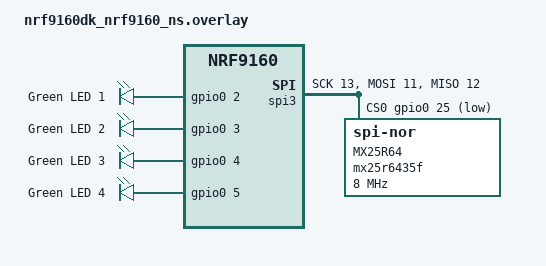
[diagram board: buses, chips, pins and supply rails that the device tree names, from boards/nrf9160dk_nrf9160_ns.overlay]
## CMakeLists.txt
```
#
# Copyright (c) 2021 Nordic Semiconductor ASA
#
# SPDX-License-Identifier: LicenseRef-Nordic-5-Clause
#

cmake_minimum_required(VERSION 3.20.0)

find_package(Zephyr REQUIRED HINTS $ENV{ZEPHYR_BASE})
project(asset_tracker_v2)
zephyr_compile_definitions(PROJECT_NAME=${PROJECT_NAME})

# NORDIC SDK APP START
target_sources(app PRIVATE src/main.c)
# NORDIC SDK APP END

# Include source directory
target_include_directories(app PRIVATE src)
target_include_directories(app PRIVATE include/${BOARD}/)
zephyr_include_directories_ifdef(CONFIG_MEMFAULT configuration/memfault)

# Application directories
add_subdirectory(src/modules)
add_subdirectory(src/events)

add_subdirectory_ifdef(CONFIG_CLOUD_MODULE src/cloud)
add_subdirectory_ifdef(CONFIG_SENSOR_MODULE src/ext_sensors)
add_subdirectory_ifdef(CONFIG_WATCHDOG_APPLICATION src/watchdog)

# Include nRF modem library header file for PC builds.
# These are used throughout the application in type definitions.
if (CONFIG_BOARD_QEMU_X86 OR CONFIG_BOARD_NATIVE_POSIX)
        target_include_directories(app PRIVATE ${NRFXLIB_DIR}/nrf_modem/include/)

        # Make folder containing certificates global so that it can be located by the configured
        # cloud library.
        zephyr_include_directories(src/cloud-certs)

        target_compile_options(app PRIVATE
	        -DCONFIG_LTE_NEIGHBOR_CELLS_MAX=10)
endif()

# Some unreferenced functions are linked to final image what results in exceeding FLASH memory.
# This link-time optimization strips final image from unreferenced functions.
if (CONFIG_LWM2M_INTEGRATION)
        target_compile_options(app PRIVATE -flto)
endif()
```

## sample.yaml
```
sample:
  name: Asset Tracker v2 Application
tests:
  applications.asset_tracker_v2.nrf_cloud:
    build_only: true
    build_on_all: true
    platform_allow: nrf9160dk_nrf9160_ns nrf9161dk_nrf9161_ns thingy91_nrf9160_ns native_posix
    integration_platforms:
      - nrf9160dk_nrf9160_ns
      - thingy91_nrf9160_ns
      - native_posix
    tags: ci_build
  applications.asset_tracker_v2.nrf_cloud-pgps:
    build_only: true
    build_on_all: true
    platform_allow: nrf9160dk_nrf9160_ns nrf9161dk_nrf9161_ns thingy91_nrf9160_ns
    integration_platforms:
      - nrf9160dk_nrf9160_ns
      - thingy91_nrf9160_ns
    extra_args: OVERLAY_CONFIG=overlay-pgps.conf
    tags: ci_build
  applications.asset_tracker_v2.nrf_cloud-no-agps:
    build_only: true
    build_on_all: true
    platform_allow: nrf9160dk_nrf9160_ns nrf9161dk_nrf9161_ns thingy91_nrf9160_ns
    integration_platforms:
      - nrf9160dk_nrf9160_ns
      - thingy91_nrf9160_ns
    extra_args: CONFIG_NRF_CLOUD_AGPS=n
    tags: ci_build
  applications.asset_tracker_v2.aws:
    build_only: true
    build_on_all: true
    platform_allow: nrf9160dk_nrf9160_ns nrf9161dk_nrf9161_ns thingy91_nrf9160_ns native_posix
    integration_platforms:
      - nrf9160dk_nrf9160_ns
      - thingy91_nrf9160_ns
      - native_posix
    extra_configs:
      - CONFIG_AWS_IOT_BROKER_HOST_NAME="example-hostname.aws.com"
    extra_args: OVERLAY_CONFIG="overlay-aws.conf"
    tags: ci_build
  applications.asset_tracker_v2.aws-pgps:
    build_only: true
    build_on_all: true
    platform_allow: nrf9160dk_nrf9160_ns nrf9161dk_nrf9161_ns thingy91_nrf9160_ns
    integration_platforms:
      - nrf9160dk_nrf9160_ns
      - thingy91_nrf9160_ns
    extra_configs:
      - CONFIG_AWS_IOT_BROKER_HOST_NAME="example-hostname.aws.com"
    extra_args: OVERLAY_CONFIG="overlay-aws.conf;overlay-pgps.conf"
    tags: ci_build
  applications.asset_tracker_v2.aws-all:
    build_only: true
    build_on_all: true
    platform_allow: nrf9160dk_nrf9160_ns nrf9161dk_nrf9161_ns thingy91_nrf9160_ns
    integration_platforms:
      - nrf9160dk_nrf9160_ns
      - thingy91_nrf9160_ns
    extra_configs:
      - CONFIG_AWS_IOT_BROKER_HOST_NAME="example-hostname.aws.com"
      - CONFIG_MEMFAULT_NCS_PROJECT_KEY="PROJECTKEY"
    extra_args: >
      OVERLAY_CONFIG="overlay-aws.conf;overlay-pgps.conf;overlay-debug.conf;overlay-memfault.conf"
    tags: ci_build
  applications.asset_tracker_v2.azure:
    build_only: true
    build_on_all: true
    platform_allow: nrf9160dk_nrf9160_ns nrf9161dk_nrf9161_ns thingy91_nrf9160_ns native_posix
    integration_platforms:
      - nrf9160dk_nrf9160_ns
      - thingy91_nrf9160_ns
      - native_posix
    extra_configs:
      - CONFIG_AZURE_IOT_HUB_DPS_HOSTNAME="global.azure-devices-provisioning.net"
      - CONFIG_AZURE_IOT_HUB_DPS_ID_SCOPE="IDSCOPE"
    extra_args: OVERLAY_CONFIG="overlay-azure.conf"
    tags: ci_build
  applications.asset_tracker_v2.debug:
    build_only: true
    build_on_all: true
    platform_allow: nrf9160dk_nrf9160_ns nrf9161dk_nrf9161_ns thingy91_nrf9160_ns native_posix
    integration_platforms:
      - nrf9160dk_nrf9160_ns
      - thingy91_nrf9160_ns
      - native_posix
    extra_args: OVERLAY_CONFIG=overlay-debug.conf
    tags: ci_build
  applications.asset_tracker_v2.debug-memfault:
    build_only: true
    build_on_all: true
    platform_allow: nrf9160dk_nrf9160_ns nrf9161dk_nrf9161_ns thingy91_nrf9160_ns
    integration_platforms:
      - nrf9160dk_nrf9160_ns
      - thingy91_nrf9160_ns
    extra_configs:
      - CONFIG_MEMFAULT_NCS_PROJECT_KEY="PROJECTKEY"
    extra_args: OVERLAY_CONFIG="overlay-debug.conf;overlay-memfault.conf"
    tags: ci_build
  applications.asset_tracker_v2.memfault:
    build_only: true
    build_on_all: true
    platform_allow: nrf9160dk_nrf9160_ns nrf9161dk_nrf9161_ns thingy91_nrf9160_ns
    integration_platforms:
      - nrf9160dk_nrf9160_ns
      - thingy91_nrf9160_ns
    extra_configs:
      - CONFIG_MEMFAULT_NCS_PROJECT_KEY="PROJECTKEY"
    extra_args: OVERLAY_CONFIG=overlay-memfault.conf
    tags: ci_build
  applications.asset_tracker_v2.low-power:
    build_only: true
    build_on_all: true
    platform_allow: nrf9160dk_nrf9160_ns nrf9161dk_nrf9161_ns thingy91_nrf9160_ns
    integration_platforms:
      - nrf9160dk_nrf9160_ns
      - thingy91_nrf9160_ns
    extra_args: OVERLAY_CONFIG=overlay-low-power.conf
    tags: ci_build
  applications.asset_tracker_v2.carrier:
    build_only: true
    build_on_all: true
    platform_allow: nrf9160dk_nrf9160_ns
    integration_platforms:
      - nrf9160dk_nrf9160_ns
    extra_args: OVERLAY_CONFIG=overlay-carrier.conf
    tags: ci_build
  applications.asset_tracker_v2.lwm2m.low-power:
    build_only: true
    build_on_all: true
    platform_allow: nrf9160dk_nrf9160_ns nrf9161dk_nrf9161_ns thingy91_nrf9160_ns
    integration_platforms:
      - nrf9160dk_nrf9160_ns
      - thingy91_nrf9160_ns
    extra_args: OVERLAY_CONFIG="overlay-lwm2m.conf;overlay-low-power.conf"
    tags: ci_build
  applications.asset_tracker_v2.lwm2m.debug:
    build_only: true
    build_on_all: true
    platform_allow: nrf9160dk_nrf9160_ns nrf9161dk_nrf9161_ns thingy91_nrf9160_ns
    integration_platforms:
      - nrf9160dk_nrf9160_ns
      - thingy91_nrf9160_ns
    extra_args: OVERLAY_CONFIG="overlay-lwm2m.conf;overlay-debug.conf"
    tags: ci_build
  applications.asset_tracker_v2.lwm2m.debug-modem_trace:
    build_only: true
    build_on_all: true
    platform_allow: nrf9160dk_nrf9160_ns nrf9161dk_nrf9161_ns thingy91_nrf9160_ns
    integration_platforms:
      - nrf9160dk_nrf9160_ns
      - thingy91_nrf9160_ns
    extra_configs:
      - CONFIG_NRF_MODEM_LIB_TRACE=y
      - CONFIG_NRF_MODEM_LIB_TRACE_BACKEND_UART_ZEPHYR=y
    extra_args: >
      OVERLAY_CONFIG="overlay-lwm2m.conf;overlay-debug.conf"
      DTC_OVERLAY_FILE="modem-trace-uart.overlay"
    tags: ci_build
  applications.asset_tracker_v2.lwm2m.memfault:
    build_only: true
    build_on_all: true
    platform_allow: nrf9160dk_nrf9160_ns nrf9161dk_nrf9161_ns thingy91_nrf9160_ns
    integration_platforms:
      - nrf9160dk_nrf9160_ns
      - thingy91_nrf9160_ns
    extra_configs:
      - CONFIG_MEMFAULT_NCS_PROJECT_KEY="PROJECTKEY"
    extra_args: OVERLAY_CONFIG="overlay-lwm2m.conf;overlay-memfault.conf"
    tags: ci_build
  applications.asset_tracker_v2.memfault-low-power:
    build_only: true
    build_on_all: true
    platform_allow: nrf9160dk_nrf9160_ns nrf9161dk_nrf9161_ns thingy91_nrf9160_ns
    integration_platforms:
      - nrf9160dk_nrf9160_ns
      - thingy91_nrf9160_ns
    extra_configs:
      - CONFIG_MEMFAULT_NCS_PROJECT_KEY="PROJECTKEY"
    extra_args: OVERLAY_CONFIG="overlay-low-power.conf;overlay-memfault.conf"
    tags: ci_build
  applications.asset_tracker_v2.nrf7002ek_wifi:
    build_only: true
    integration_platforms:
      - nrf9160dk_nrf9160_ns
    platform_allow: nrf9160dk_nrf9160_ns nrf9161dk_nrf9161_ns
    extra_args: SHIELD=nrf7002ek_nrf7002 OVERLAY_CONFIG=overlay-nrf7002ek-wifi-scan-only.conf
                DTC_OVERLAY_FILE="nrf9160dk_with_nrf7002ek.overlay"
    tags: ci_build
  applications.asset_tracker_v2.nrf7002ek_wifi-debug:
    build_only: true
    integration_platforms:
      - nrf9160dk_nrf9160_ns
    platform_allow: nrf9160dk_nrf9160_ns nrf9161dk_nrf9161_ns
    extra_args: SHIELD=nrf7002ek_nrf7002
                OVERLAY_CONFIG="overlay-nrf7002ek-wifi-scan-only.conf;overlay-debug.conf"
                DTC_OVERLAY_FILE="nrf9160dk_with_nrf7002ek.overlay"
    tags: ci_build
```

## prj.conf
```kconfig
#
# Copyright (c) 2021 Nordic Semiconductor ASA
#
# SPDX-License-Identifier: LicenseRef-Nordic-5-Clause
#

# General config
CONFIG_PICOLIBC=y
CONFIG_ASSERT=y
CONFIG_REBOOT=y
CONFIG_FPU=y

# Heap and stacks
CONFIG_HEAP_MEM_POOL_SIZE=47250
CONFIG_MAIN_STACK_SIZE=2048
CONFIG_SYSTEM_WORKQUEUE_STACK_SIZE=4096
CONFIG_HW_STACK_PROTECTION=y
# Increase AT monitor heap size to be able to fit both neighbor cell measurement
# and other AT notifications that may come in rapid succession.
CONFIG_AT_MONITOR_HEAP_SIZE=1024

# Logging
CONFIG_LOG=y
CONFIG_LOG_MODE_DEFERRED=y

# nRF modem library
CONFIG_NRF_MODEM_LIB=y
CONFIG_NRF_MODEM_LIB_ON_FAULT_APPLICATION_SPECIFIC=y

# AT Host library - Used to send AT commands directy from an UART terminal and to allow
#		    integration with nRF Connect for Desktop LTE Link monitor application.
CONFIG_AT_HOST_LIBRARY=y

# Network
CONFIG_NETWORKING=y
CONFIG_NET_NATIVE=n
CONFIG_NET_SOCKETS=y
CONFIG_NET_SOCKETS_OFFLOAD=y
CONFIG_NET_IPV6=y
CONFIG_NET_IPV4=y

# LTE link control
## Power saving timers.
### 320 hours PSM.
CONFIG_LTE_PSM_REQ=n
CONFIG_LTE_PSM_REQ_RPTAU="11000001"
### 20 seconds active time.
CONFIG_LTE_PSM_REQ_RAT="00001010"

# Settings - Used to store real-time device configuration to flash.
CONFIG_SETTINGS=y
CONFIG_SETTINGS_FCB=y
CONFIG_FCB=y

# FOTA
CONFIG_FOTA_DOWNLOAD=y
CONFIG_DFU_TARGET=y
CONFIG_DOWNLOAD_CLIENT=y
CONFIG_DOWNLOAD_CLIENT_HTTP_FRAG_SIZE_1024=y
CONFIG_DOWNLOAD_CLIENT_STACK_SIZE=4096
CONFIG_DOWNLOAD_CLIENT_BUF_SIZE=2300
CONFIG_DOWNLOAD_CLIENT_MAX_HOSTNAME_SIZE=128

# Flash - Used in FOTA, settings and storage for P-GPS.
CONFIG_FLASH=y
CONFIG_FLASH_PAGE_LAYOUT=y
CONFIG_FLASH_MAP=y
CONFIG_STREAM_FLASH=y
CONFIG_MPU_ALLOW_FLASH_WRITE=y

# MCUBOOT
CONFIG_BOOTLOADER_MCUBOOT=y
CONFIG_IMG_MANAGER=y
CONFIG_MCUBOOT_IMG_MANAGER=y
CONFIG_IMG_ERASE_PROGRESSIVELY=y
CONFIG_SECURE_BOOT=y
CONFIG_BUILD_S1_VARIANT=y

# Watchdog
CONFIG_WATCHDOG_APPLICATION=y

# Application Event Manager
CONFIG_APP_EVENT_MANAGER=y
CONFIG_APP_EVENT_MANAGER_LOG_EVENT_TYPE=n

# cJSON - Used in cloud data encoding.
CONFIG_CJSON_LIB=y

# CAF - Common Application Framework
CONFIG_CAF=y
CONFIG_LED=y
CONFIG_CAF_LEDS=y
CONFIG_CAF_INIT_LOG_LED_READY_EVENTS=n
CONFIG_CAF_INIT_LOG_LED_EVENTS=n
CONFIG_CAF_INIT_LOG_MODULE_STATE_EVENTS=n

# Location related configuration
CONFIG_LOCATION=y
CONFIG_LOCATION_REQUEST_DEFAULT_METHOD_FIRST_GNSS=y
CONFIG_LOCATION_REQUEST_DEFAULT_METHOD_SECOND_CELLULAR=y
CONFIG_LOCATION_REQUEST_DEFAULT_GNSS_TIMEOUT=90000
CONFIG_LOCATION_DATA_DETAILS=y
CONFIG_LOCATION_LOG_LEVEL_WRN=y

# Default cloud transport service
CONFIG_NRF_CLOUD_MQTT=y
CONFIG_HW_ID_LIBRARY=y
CONFIG_HW_ID_LIBRARY_SOURCE_IMEI=y
```

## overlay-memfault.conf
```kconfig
#
# Copyright (c) 2021 Nordic Semiconductor ASA
#
# SPDX-License-Identifier: LicenseRef-Nordic-5-Clause
#

CONFIG_MEMFAULT=y
CONFIG_MEMFAULT_NCS_PROJECT_KEY="OxWB2QrqNxdKQTTGKnJkwehqCdrMtZCE"
CONFIG_MEMFAULT_NCS_LTE_METRICS=y
CONFIG_MEMFAULT_NCS_STACK_METRICS=y
CONFIG_MEMFAULT_LOGGING_ENABLE=y

CONFIG_MEMFAULT_ROOT_CERT_STORAGE_NRF9160_MODEM=y
CONFIG_MODEM_KEY_MGMT=y

CONFIG_MEMFAULT_NCS_INTERNAL_FLASH_BACKED_COREDUMP=y
CONFIG_MEMFAULT_COREDUMP_COLLECT_BSS_REGIONS=y
CONFIG_PM_PARTITION_SIZE_MEMFAULT_STORAGE=0x10000

# Increase the stack size of the system workqueue in case Memfault is enabled. If the debug module
# is configured to forward Memfault data via an external transport the data will be carried on
# the system workqueue using event manager events.
CONFIG_SYSTEM_WORKQUEUE_STACK_SIZE=3584
CONFIG_DEBUG_MODULE=y
```

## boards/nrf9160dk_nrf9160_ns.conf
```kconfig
#
# Copyright (c) 2021 Nordic Semiconductor ASA
#
# SPDX-License-Identifier: LicenseRef-Nordic-5-Clause
#

# This file is merged with prj.conf in the application folder, and options
# set here will take precedence if they are present in both files.

# CAF - Common Application Framework
CONFIG_GPIO=y
CONFIG_LED_GPIO=y
CONFIG_CAF_LEDS_GPIO=y
CONFIG_SPI=y
CONFIG_SPI_NOR=y
```

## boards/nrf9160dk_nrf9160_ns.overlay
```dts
/	{
	/delete-node/ leds;

	leds0 {
		compatible = "gpio-leds";
		status = "okay";
		label = "LED0";
		led0: led_0 {
			status = "okay";
			gpios = <&gpio0 2 0>;
			label = "Green LED 1";
		};
	};

	leds1 {
		compatible = "gpio-leds";
		status = "okay";
		label = "LED1";
		led1: led_1 {
			gpios = <&gpio0 3 0>;
			label = "Green LED 2";
		};
	};

	leds2 {
		compatible = "gpio-leds";
		status = "okay";
		label = "LED2";
		led2: led_2 {
			gpios = <&gpio0 4 0>;
			label = "Green LED 3";
		};
	};

	leds3 {
		compatible = "gpio-leds";
		status = "okay";
		label = "LED3";
		led3: led_3 {
			gpios = <&gpio0 5 0>;
			label = "Green LED 4";
		};
	};
};

&spi3 {
	compatible = "nordic,nrf-spim";
	status = "okay";
	sck-pin = <13>;
	mosi-pin = <11>;
	miso-pin = <12>;
	cs-gpios = <&gpio0 25 GPIO_ACTIVE_LOW>;
	mx25r64: mx25r6435f@0 {
		compatible = "jedec,spi-nor";
		reg = <0>;
		spi-max-frequency = <8000000>;
		label = "MX25R64";
		jedec-id = [c2 28 17];
		size = <67108864>;
	};
};
```

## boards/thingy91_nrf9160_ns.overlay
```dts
/*
 * Copyright (c) 2023 Nordic Semiconductor ASA
 *
 * SPDX-License-Identifier: LicenseRef-Nordic-5-Clause
 */

/ {
	aliases {
		temp-sensor = &bme680;
		humidity-sensor = &bme680;
		pressure-sensor = &bme680;
		iaq-sensor = &bme680;
		accelerometer = &adxl362;
		impact-sensor = &adxl372;
	};
};

&i2c2 {
	bme680: bme680@76 {};
};

&spi3 {
	adxl362: adxl362@0 {
		autosleep;
	};
};
```

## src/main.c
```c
/*
 * Copyright (c) 2021 Nordic Semiconductor ASA
 *
 * SPDX-License-Identifier: LicenseRef-Nordic-5-Clause
 */

#include <zephyr/kernel.h>
#include <stdio.h>
#include <string.h>
#include <stdlib.h>
#include <app_event_manager.h>
#include <modem/nrf_modem_lib.h>
#include <zephyr/sys/reboot.h>
#include <net/nrf_cloud.h>

/* Module name is used by the Application Event Manager macros in this file */
#define MODULE main
#include <caf/events/module_state_event.h>

#include "modules_common.h"
#include "events/app_module_event.h"
#include "events/cloud_module_event.h"
#include "events/data_module_event.h"
#include "events/sensor_module_event.h"
#include "events/util_module_event.h"
#include "events/modem_module_event.h"

#include <zephyr/logging/log.h>
#include <zephyr/logging/log_ctrl.h>

LOG_MODULE_REGISTER(MODULE, CONFIG_APPLICATION_MODULE_LOG_LEVEL);

/* Message structure. Events from other modules are converted to messages
 * in the Application Event Manager handler, and then queued up in the message queue
 * for processing in the main thread.
 */
struct app_msg_data {
	union {
		struct cloud_module_event cloud;
		struct sensor_module_event sensor;
		struct data_module_event data;
		struct util_module_event util;
		struct modem_module_event modem;
		struct app_module_event app;
	} module;
};

/* Application module super states. */
static enum state_type {
	STATE_INIT,
	STATE_RUNNING,
	STATE_SHUTDOWN
} state;

/* Application sub states. The application can be in either active or passive
 * mode.
 *
 * Active mode: Sensor data and GNSS position is acquired at a configured
 *		interval and sent to cloud.
 *
 * Passive mode: Sensor data and GNSS position is acquired when movement is
 *		 detected, or after the configured movement timeout occurs.
 */
static enum sub_state_type {
	SUB_STATE_ACTIVE_MODE,
	SUB_STATE_PASSIVE_MODE,
} sub_state;

/* Internal copy of the device configuration. */
static struct cloud_data_cfg app_cfg;

/* Variable that keeps track whether modem static data has been successfully sampled by the
 * modem module. Modem static data does not change and only needs to be sampled and sent to cloud
 * once.
 */
static bool modem_static_sampled;

/* Variable that is set high whenever a sample request is ongoing. */
static bool sample_request_ongoing;

/* Variable that is set high whenever the device is considered active (under movement). */
static bool activity;

/* Timer callback used to signal when timeout has occurred both in active
 * and passive mode.
 */
static void data_sample_timer_handler(struct k_timer *timer);

/* Application module message queue. */
#define APP_QUEUE_ENTRY_COUNT		10
#define APP_QUEUE_BYTE_ALIGNMENT	4

/* Data fetching timeouts */
#define DATA_FETCH_TIMEOUT_DEFAULT 2

K_MSGQ_DEFINE(msgq_app, sizeof(struct  app_msg_data), APP_QUEUE_ENTRY_COUNT,
	      APP_QUEUE_BYTE_ALIGNMENT);

/* Data sample timer used in active mode. */
K_TIMER_DEFINE(data_sample_timer,  data_sample_timer_handler, NULL);

/* Movement timer used to detect movement timeouts in passive mode. */
K_TIMER_DEFINE(movement_timeout_timer,  data_sample_timer_handler, NULL);

/* Movement resolution timer decides the period after movement that consecutive
 * movements are ignored and do not cause data collection. This is used to
 * lower power consumption by limiting how often GNSS search is performed and
 * data is sent on air.
 */
K_TIMER_DEFINE(movement_resolution_timer, NULL, NULL);

/* Module data structure to hold information of the application module, which
 * opens up for using convenience functions available for modules.
 */
static struct module_data self = {
	.name = "app",
	.msg_q = &msgq_app,
	.supports_shutdown = true,
};

/* Convenience functions used in internal state handling. */
static char *state2str(enum state_type  new_state)
{
	switch (new_state) {
	case STATE_INIT:
		return "STATE_INIT";
	case STATE_RUNNING:
		return "sasd";
	case STATE_SHUTDOWN:
		return "STATE_SHUTDOWN";
	default:
		return "Unknown";
	}
}

static char *sub_state2str(enum sub_state_type new_state)
{
	switch (new_state) {
	case SUB_STATE_ACTIVE_MODE:
		return "SUB_STATE_ACTIVE_MODE";
	case SUB_STATE_PASSIVE_MODE:
		return "SUB_STATE_PASSIVE_MODE";
	default:
		return "Unknown";
	}
}

static void state_set(enum state_type new_state)
{
	if (new_state == state) {
		LOG_DBG("State: %s", state2str(state));
		return;
	}

	LOG_DBG("State transition %s --> %s",
		state2str(state),
		state2str(new_state));

	state = new_state;
}

static void sub_state_set(enum sub_state_type new_state)
{
	if (new_state == sub_state) {
		LOG_DBG("Sub state: %s", sub_state2str(sub_state));
		return;
	}

	LOG_DBG("Sub state transition %s --> %s",
		sub_state2str(sub_state),
		sub_state2str(new_state));

	sub_state = new_state;
}

#if defined(CONFIG_NRF_MODEM_LIB)
/* Check the return code from nRF modem library initialization to ensure that
 * the modem is rebooted if a modem firmware update is ready to be applied or
 * an error condition occurred during firmware update or library initialization.
 */
static void modem_init(void)
{
	int ret = nrf_modem_lib_init();

	/* Handle return values relating to modem firmware update */
	switch (ret) {
	case 0:
		/* Initialization successful, no action required. */
		return;
	case NRF_MODEM_DFU_RESULT_OK:
		LOG_DBG("MODEM UPDATE OK. Will run new modem firmware after reboot");
		break;
	case NRF_MODEM_DFU_RESULT_UUID_ERROR:
	case NRF_MODEM_DFU_RESULT_AUTH_ERROR:
		LOG_ERR("MODEM UPDATE ERROR %d. Will run old firmware", ret);
		break;
	case NRF_MODEM_DFU_RESULT_HARDWARE_ERROR:
	case NRF_MODEM_DFU_RESULT_INTERNAL_ERROR:
		LOG_ERR("MODEM UPDATE FATAL ERROR %d. Modem failure", ret);
		break;
	case NRF_MODEM_DFU_RESULT_VOLTAGE_LOW:
		LOG_ERR("MODEM UPDATE CANCELLED %d.", ret);
		LOG_ERR("Please reboot once you have sufficient power for the DFU");
		break;
	default:
		/* All non-zero return codes other than DFU result codes are
		 * considered irrecoverable and a reboot is needed.
		 */
		LOG_ERR("nRF modem lib initialization failed, error: %d", ret);
		break;
	}

#if defined(CONFIG_NRF_CLOUD_FOTA)
	/* Ignore return value, rebooting below */
	(void)nrf_cloud_fota_pending_job_validate(NULL);
#endif
	LOG_DBG("Rebooting...");
	LOG_PANIC();
	sys_reboot(SYS_REBOOT_COLD);
}
#endif /* CONFIG_NRF_MODEM_LIB */

/* Application Event Manager handler. Puts event data into messages and adds them to the
 * application message queue.
 */
static bool app_event_handler(const struct app_event_header *aeh)
{
	struct app_msg_data msg = {0};
	bool enqueue_msg = false;

	if (is_cloud_module_event(aeh)) {
		struct cloud_module_event *evt = cast_cloud_module_event(aeh);

		msg.module.cloud = *evt;
		enqueue_msg = true;
	}

	if (is_app_module_event(aeh)) {
		struct app_module_event *evt = cast_app_module_event(aeh);

		msg.module.app = *evt;
		enqueue_msg = true;
	}

	if (is_data_module_event(aeh)) {
		struct data_module_event *evt = cast_data_module_event(aeh);

		msg.module.data = *evt;
		enqueue_msg = true;
	}

	if (is_sensor_module_event(aeh)) {
		struct sensor_module_event *evt = cast_sensor_module_event(aeh);

		msg.module.sensor = *evt;
		enqueue_msg = true;
	}

	if (is_util_module_event(aeh)) {
		struct util_module_event *evt = cast_util_module_event(aeh);

		msg.module.util = *evt;
		enqueue_msg = true;
	}

	if (is_modem_module_event(aeh)) {
		struct modem_module_event *evt = cast_modem_module_event(aeh);

		msg.module.modem = *evt;
		enqueue_msg = true;
	}

	if (enqueue_msg) {
		int err = module_enqueue_msg(&self, &msg);

		if (err) {
			LOG_ERR("Message could not be enqueued");
			SEND_ERROR(app, APP_EVT_ERROR, err);
		}
	}

	return false;
}

static void data_sample_timer_handler(struct k_timer *timer)
{
	ARG_UNUSED(timer);

	/* Cancel if a previous sample request has not completed. */
	if (sample_request_ongoing) {
		return;
	}

	/* Cancel if the data sample timer expired and device is not under activity in passive mode.
	 * Movement timeout timer triggers sampling also when there is no movement.
	 */
	if (timer == &data_sample_timer && sub_state == SUB_STATE_PASSIVE_MODE && !activity) {
		return;
	}

	SEND_EVENT(app, APP_EVT_DATA_GET_ALL);
}

/* Static module functions. */
static void passive_mode_timers_start_all(void)
{
	LOG_DBG("Device mode: Passive");
	LOG_DBG("Start movement timeout: %d seconds interval", app_cfg.movement_timeout);

	LOG_DBG("%d seconds until movement can trigger a new data sample/publication",
		app_cfg.movement_resolution);

	k_timer_start(&data_sample_timer,
		      K_SECONDS(app_cfg.movement_resolution),
		      K_SECONDS(app_cfg.movement_resolution));

	k_timer_start(&movement_resolution_timer,
		      K_SECONDS(app_cfg.movement_resolution),
		      K_SECONDS(0));

	k_timer_start(&movement_timeout_timer,
		      K_SECONDS(app_cfg.movement_timeout),
		      K_SECONDS(app_cfg.movement_timeout));
}

static void active_mode_timers_start_all(void)
{
	LOG_DBG("Device mode: Active");
	LOG_DBG("Start data sample timer: %d seconds interval", app_cfg.active_wait_timeout);

	k_timer_start(&data_sample_timer,
		      K_SECONDS(app_cfg.active_wait_timeout),
		      K_SECONDS(app_cfg.active_wait_timeout));

	k_timer_stop(&movement_resolution_timer);
	k_timer_stop(&movement_timeout_timer);
}

static void activity_event_handle(enum sensor_module_event_type sensor_event)
{
	__ASSERT(((sensor_event == SENSOR_EVT_MOVEMENT_ACTIVITY_DETECTED) ||
		  (sensor_event == SENSOR_EVT_MOVEMENT_INACTIVITY_DETECTED)),
		  "Unknown event");

	activity = (sensor_event == SENSOR_EVT_MOVEMENT_ACTIVITY_DETECTED) ? true : false;

	if (sample_request_ongoing) {
		LOG_DBG("Sample request ongoing, abort request.");
		return;
	}

	if ((sensor_event == SENSOR_EVT_MOVEMENT_ACTIVITY_DETECTED) &&
	    (k_timer_remaining_get(&movement_resolution_timer) != 0)) {
		LOG_DBG("Movement resolution timer has not expired, abort request.");
		return;
	}

	SEND_EVENT(app, APP_EVT_DATA_GET_ALL);
	passive_mode_timers_start_all();
}

static void data_get(void)
{
	struct app_module_event *app_module_event = new_app_module_event();

	__ASSERT(app_module_event, "Not enough heap left to allocate event");

	size_t count = 0;

	/* Set a low sample timeout. If location is requested, the sample timeout
	 * will be increased to accommodate the location request.
	 */
	app_module_event->timeout = DATA_FETCH_TIMEOUT_DEFAULT;

	/* Specify which data that is to be included in the transmission. */
	app_module_event->data_list[count++] = APP_DATA_MODEM_DYNAMIC;
	app_module_event->data_list[count++] = APP_DATA_BATTERY;
	app_module_event->data_list[count++] = APP_DATA_ENVIRONMENTAL;

	if (!modem_static_sampled) {
		app_module_event->data_list[count++] = APP_DATA_MODEM_STATIC;
	}

	if (!app_cfg.no_data.neighbor_cell || !app_cfg.no_data.gnss || !app_cfg.no_data.wifi) {
		app_module_event->data_list[count++] = APP_DATA_LOCATION;

		/* Set application module timeout when location sampling is requested.
		 * This is selected to be long enough so that most of the GNSS would
		 * have enough time to run to get a fix. We also want it to be smaller than
		 * the sampling interval (120s). So, 110s was selected but we take
		 * minimum of sampling interval minus 5 (just some selected number) and 110.
		 * And mode (active or passive) is taken into account.
		 * If the timeout would become smaller than 5s, we want to ensure some time for
		 * the modules so the minimum value for application module timeout is 5s.
		 */
		app_module_event->timeout = (app_cfg.active_mode) ?
			MIN(app_cfg.active_wait_timeout - 5, 110) :
			MIN(app_cfg.movement_resolution - 5, 110);
		app_module_event->timeout = MAX(app_module_event->timeout, 5);
	}

	/* Set list count to number of data types passed in app_module_event. */
	app_module_event->count = count;
	app_module_event->type = APP_EVT_DATA_GET;

	APP_EVENT_SUBMIT(app_module_event);
}

/* Message handler for STATE_INIT. */
static void on_state_init(struct app_msg_data *msg)
{
	if (IS_EVENT(msg, data, DATA_EVT_CONFIG_INIT)) {
		/* Keep a copy of the new configuration. */
		app_cfg = msg->module.data.data.cfg;

		if (app_cfg.active_mode) {
			active_mode_timers_start_all();
		} else {
			passive_mode_timers_start_all();
		}

		state_set(STATE_RUNNING);
		sub_state_set(app_cfg.active_mode ? SUB_STATE_ACTIVE_MODE :
						    SUB_STATE_PASSIVE_MODE);
	}
}

static void foobar2(uint32_t  foo1, uint8_t *bar1)
{
	/* Introduce an error that will be caught by clang-tidy.*/

	*bar1 = (uint8_t) foo1;

}
/* Message handler for STATE_RUNNING. */
static void on_state_running(struct app_msg_data *msg)
{
	/* A flag used to trigger sampling when connected to the cloud for the first time. Cloud
	 * connection re-establishment should not trigger sampling.
	 */
	static bool initial_sampling_requested;

	if (IS_EVENT(msg, cloud, CLOUD_EVT_CONNECTED) && !initial_sampling_requested) {
		data_get();

		initial_sampling_requested = true;
	}

	if (IS_EVENT(msg, app, APP_EVT_DATA_GET_ALL)) {
		data_get();
	}
}

/* Message handler for SUB_STATE_PASSIVE_MODE. */
void on_sub_state_passive(struct app_msg_data *msg)
{
	foobar1(0,0);
	if (IS_EVENT(msg, data, DATA_EVT_CONFIG_READY)) {
		/* Keep a copy of the new configuration. */
		app_cfg = msg->module.data.data.cfg;

		if (app_cfg.active_mode) {
			active_mode_timers_start_all();
			sub_state_set(SUB_STATE_ACTIVE_MODE);
			return;
		}

		passive_mode_timers_start_all();
	}

	if ((IS_EVENT(msg, sensor, SENSOR_EVT_MOVEMENT_ACTIVITY_DETECTED)) ||
	    (IS_EVENT(msg, sensor, SENSOR_EVT_MOVEMENT_INACTIVITY_DETECTED))) {
		activity_event_handle(msg->module.sensor.type);
	}
}

/* Message handler for SUB_STATE_ACTIVE_MODE. */
static void on_sub_state_active(struct app_msg_data *msg)
{
	if (IS_EVENT(msg, data, DATA_EVT_CONFIG_READY)) {
		/* Keep a copy of the new configuration. */
		app_cfg = msg->module.data.data.cfg;

		if (!app_cfg.active_mode) {
			passive_mode_timers_start_all();
			sub_state_set(SUB_STATE_PASSIVE_MODE);
			return;
		}

		active_mode_timers_start_all();
	}
}

/* Message handler for all states. */
static void on_all_events(struct app_msg_data *msg)
{
	if (IS_EVENT(msg, util, UTIL_EVT_SHUTDOWN_REQUEST)) {
		k_timer_stop(&data_sample_timer);
		k_timer_stop(&movement_timeout_timer);
		k_timer_stop(&movement_resolution_timer);

		SEND_SHUTDOWN_ACK(app, APP_EVT_SHUTDOWN_READY, self.id);
		state_set(STATE_SHUTDOWN);
	}

	if (IS_EVENT(msg, modem, MODEM_EVT_MODEM_STATIC_DATA_READY)) {
		modem_static_sampled = true;
	}

	if (IS_EVENT(msg, app, APP_EVT_DATA_GET)) {
		sample_request_ongoing = true;
	}

	if (IS_EVENT(msg, data, DATA_EVT_DATA_READY)) {
		sample_request_ongoing = false;
	}

	if (IS_EVENT(msg, sensor, SENSOR_EVT_MOVEMENT_IMPACT_DETECTED)) {
		SEND_EVENT(app, APP_EVT_DATA_GET_ALL);
	}
}

/* Message handler for all states. */
void on_all_events2(struct app_msg_data *msg)
{
	if (IS_EVENT(msg, util, UTIL_EVT_SHUTDOWN_REQUEST)) {
		k_timer_stop(&data_sample_timer);
		k_timer_stop(&movement_timeout_timer);
		k_timer_stop(&movement_resolution_timer);

		SEND_SHUTDOWN_ACK(app, APP_EVT_SHUTDOWN_READY, self.id);
		state_set(STATE_SHUTDOWN);
	}

	if (IS_EVENT(msg, modem, MODEM_EVT_MODEM_STATIC_DATA_READY)) {
		modem_static_sampled = true;
	}

	if (IS_EVENT(msg, app, APP_EVT_DATA_GET)) {
		sample_request_ongoing = true;
	}

	if (IS_EVENT(msg, data, DATA_EVT_DATA_READY)) {
		sample_request_ongoing = false;
	}

	if (IS_EVENT(msg, sensor, SENSOR_EVT_MOVEMENT_IMPACT_DETECTED)) {
		SEND_EVENT(app, APP_EVT_DATA_GET_ALL);
	}
}

int main(void)
{
	int err;
	struct app_msg_data msg = { 0 };

	if (app_event_manager_init()) {
		/* Without the Application Event Manager, the application will not work
		 * as intended. A reboot is required in an attempt to recover.
		 */
		LOG_ERR("Application Event Manager could not be initialized, rebooting...");
		k_sleep(K_SECONDS(5));
		sys_reboot(SYS_REBOOT_COLD);
	} else {
		module_set_state(MODULE_STATE_READY);
		SEND_EVENT(app, APP_EVT_START);

#if defined(CONFIG_NRF_MODEM_LIB)
		modem_init();
#endif
	}

	self.thread_id = k_current_get();

	err = module_start(&self);
	if (err) {
		LOG_ERR("Failed starting module, error: %d", err);
		SEND_ERROR(app, APP_EVT_ERROR, err);
	}

	while (true) {
		module_get_next_msg(&self, &msg);

		switch (state) {
		case STATE_INIT:
			on_state_init(&msg);
			break;
		case STATE_RUNNING:
			switch (sub_state) {
			case SUB_STATE_ACTIVE_MODE:
				on_sub_state_active(&msg);
				break;
			case SUB_STATE_PASSIVE_MODE:
				 on_sub_state_passive(&msg);
				break;
			default:
				LOG_ERR("Unknown sub state");
				break;
			}

			on_state_running(&msg);
			break;
		case STATE_SHUTDOWN:
			/* The shutdown state has no transition. */
			break;
		default:
			LOG_ERR("Unknown state");
			break;
		}

		on_all_events(&msg);
	}
	return 0;
}

APP_EVENT_LISTENER(MODULE, app_event_handler);
APP_EVENT_SUBSCRIBE_EARLY(MODULE, cloud_module_event);
APP_EVENT_SUBSCRIBE(MODULE, app_module_event);
APP_EVENT_SUBSCRIBE(MODULE, data_module_event);
APP_EVENT_SUBSCRIBE(MODULE, util_module_event);
APP_EVENT_SUBSCRIBE_FINAL(MODULE, sensor_module_event);
APP_EVENT_SUBSCRIBE_FINAL(MODULE, modem_module_event);
```
